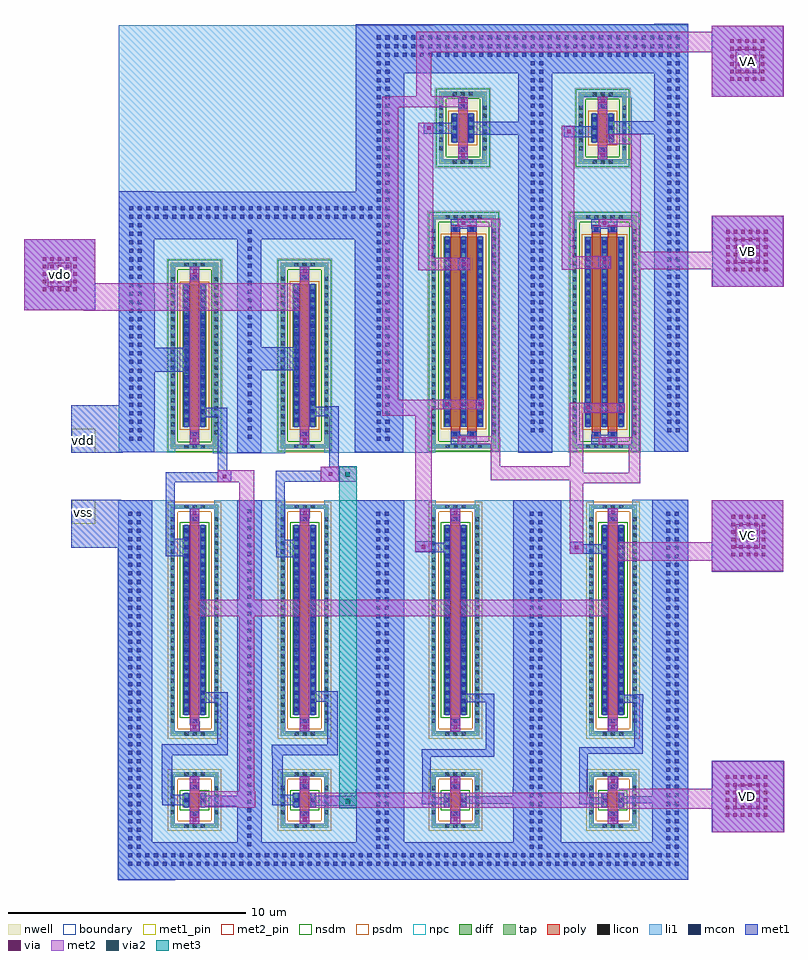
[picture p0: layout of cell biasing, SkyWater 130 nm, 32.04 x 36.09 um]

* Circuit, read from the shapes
.subckt biasing VA VB VC VD vdd vdo vss
XM1 vss VC sky130_fd_pr__nfet_01v8_J89NCU_1/D vss sky130_fd_pr__nfet_01v8 w=0.6 l=0.4
XM2 sky130_fd_pr__nfet_01v8_J89NCU_1/D VC VC vss sky130_fd_pr__nfet_01v8 w=8 l=0.4
XM3 vss VD sky130_fd_pr__nfet_01v8_J89NCU_3/D vss sky130_fd_pr__nfet_01v8 w=0.6 l=0.4
XM4 sky130_fd_pr__nfet_01v8_J89NCU_3/D VC VD vss sky130_fd_pr__nfet_01v8 w=8 l=0.4
XM5 vss VD sky130_fd_pr__nfet_01v8_J89NCU_4/D vss sky130_fd_pr__nfet_01v8 w=0.6 l=0.4
XM6 sky130_fd_pr__nfet_01v8_J89NCU_4/D VC VA vss sky130_fd_pr__nfet_01v8 w=8 l=0.4
XM7 vss VD sky130_fd_pr__nfet_01v8_J89NCU_6/D vss sky130_fd_pr__nfet_01v8 w=0.6 l=0.4
XM8 sky130_fd_pr__nfet_01v8_J89NCU_6/D VC VB vss sky130_fd_pr__nfet_01v8 w=8 l=0.4
XM9 VC vdo vdd vdd sky130_fd_pr__pfet_01v8 w=6 l=0.4
XM10 VD vdo vdd vdd sky130_fd_pr__pfet_01v8 w=6 l=0.4
XM11 sky130_fd_pr__pfet_01v8_NJEU8C_13/D VB VA vdd sky130_fd_pr__pfet_01v8 w=8 l=0.4 m=2
XM12 vdd VA sky130_fd_pr__pfet_01v8_NJEU8C_13/D vdd sky130_fd_pr__pfet_01v8 w=1.2 l=0.4
XM13 sky130_fd_pr__pfet_01v8_NJEU8C_10/D VB VB vdd sky130_fd_pr__pfet_01v8 w=8 l=0.4 m=2
XM14 vdd VB sky130_fd_pr__pfet_01v8_NJEU8C_10/D vdd sky130_fd_pr__pfet_01v8 w=1.2 l=0.4
.ends

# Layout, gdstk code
import gdstk
lib = gdstk.Library(unit=1e-6, precision=1e-09)
def R(c, l, rs):  # rectangles x0, y0, x1, y1
    for r in rs: c.add(gdstk.rectangle(r[:2], r[2:], *l))
def A(c, l, x, y, w, h, nx, ny, dx, dy):  # array of equal rectangles
    R(c, l, [(x+i*dx, y+j*dy, x+i*dx+w, y+j*dy+h) for i in range(nx) for j in range(ny)])
nwell = (64, 20)
diff = (65, 20)
tap = (65, 44)
poly = (66, 20)
licon = (66, 44)
li1 = (67, 20)
mcon = (67, 44)
met1_pin = (68, 16)
met1 = (68, 20)
via = (68, 44)
met2_pin = (69, 16)
met2 = (69, 20)
via2 = (69, 44)
met3 = (70, 20)
nsdm = (93, 44)
psdm = (94, 20)
npc = (95, 20)
boundary = (235, 4)

sky130_fd_pr__nfet_01v8_ = lib.new_cell('sky130_fd_pr__nfet_01v8_WVN3PK')
R(sky130_fd_pr__nfet_01v8_, diff, [(-0.49,-4,0.49,4)])
R(sky130_fd_pr__nfet_01v8_, tap, [(-1,-4.87,1,-4.7), (-1,-4.7,-0.83,4.7), (0.83,-4.7,1,4.7), (-1,4.7,1,4.87)])
R(sky130_fd_pr__nfet_01v8_, poly, [(-0.2,-4.44,0.2,4.44)])
A(sky130_fd_pr__nfet_01v8_, licon, -0.425, -4.87, 0.17, 0.17, 3, 2, 0.34, 9.57)
A(sky130_fd_pr__nfet_01v8_, licon, -1, -4.335, 0.17, 0.17, 1, 26, 0, 0.34)
A(sky130_fd_pr__nfet_01v8_, licon, 0.83, -4.335, 0.17, 0.17, 1, 26, 0, 0.34)
A(sky130_fd_pr__nfet_01v8_, licon, -0.43, -3.825, 0.17, 0.17, 1, 23, 0, 0.34)
A(sky130_fd_pr__nfet_01v8_, licon, 0.26, -3.825, 0.17, 0.17, 1, 23, 0, 0.34)
R(sky130_fd_pr__nfet_01v8_, licon, [(-0.085,-4.36,0.085,-4.19), (-0.085,4.19,0.085,4.36)])
R(sky130_fd_pr__nfet_01v8_, li1, [(-1,-4.87,1,-4.7), (-1,-4.7,-0.83,4.7), (0.83,-4.7,1,4.7), (-0.2,-4.36,0.2,-4.19), (-0.43,-4.02,-0.26,4.02), (0.26,-4.02,0.43,4.02), (-0.2,4.19,0.2,4.36), (-1,4.7,1,4.87)])
A(sky130_fd_pr__nfet_01v8_, mcon, -0.43, -3.865, 0.17, 0.17, 1, 22, 0, 0.36)
A(sky130_fd_pr__nfet_01v8_, mcon, 0.26, -3.865, 0.17, 0.17, 1, 22, 0, 0.36)
R(sky130_fd_pr__nfet_01v8_, mcon, [(-0.085,-4.36,0.085,-4.19), (-0.085,4.19,0.085,4.36)])
R(sky130_fd_pr__nfet_01v8_, met1, [(-0.18,-4.39,0.18,-4.16), (-0.46,-4,-0.23,4), (0.23,-4,0.46,4), (-0.18,4.16,0.18,4.39)])
R(sky130_fd_pr__nfet_01v8_, nsdm, [(-0.615,-4.125,0.615,4.125)])
R(sky130_fd_pr__nfet_01v8_, psdm, [(-1.125,-4.995,1.125,-4.575), (-1.125,-4.575,-0.705,4.575), (0.705,-4.575,1.125,4.575), (-1.125,4.575,1.125,4.995)])
R(sky130_fd_pr__nfet_01v8_, npc, [(-0.185,-4.46,0.185,-4.09), (-0.185,4.09,0.185,4.46)])
R(sky130_fd_pr__nfet_01v8_, boundary, [(-0.915,-4.785,0.915,4.785)])
sky130_fd_pr__nfet_01v8_.add(gdstk.Label('G', (0,4.275), layer=67, texttype=5))
sky130_fd_pr__nfet_01v8_.add(gdstk.Label('S', (0.345,0), layer=67, texttype=5))
sky130_fd_pr__nfet_01v8_.add(gdstk.Label('D', (-0.345,0), layer=67, texttype=5))
sky130_fd_pr__nfet_01v8_.add(gdstk.Label('B', (0,-4.785), layer=67, texttype=5))

c_sky130_fd_pr__nfet_01v8_ = lib.new_cell('sky130_fd_pr__nfet_01v8_J89NCU')
R(c_sky130_fd_pr__nfet_01v8_, diff, [(-0.49,-0.3,0.49,0.3)])
R(c_sky130_fd_pr__nfet_01v8_, tap, [(-1,-1.17,1,-1), (-1,-1,-0.83,1), (0.83,-1,1,1), (-1,1,1,1.17)])
R(c_sky130_fd_pr__nfet_01v8_, poly, [(-0.2,-0.74,0.2,0.74)])
A(c_sky130_fd_pr__nfet_01v8_, licon, -0.425, -1.17, 0.17, 0.17, 3, 2, 0.34, 2.17)
A(c_sky130_fd_pr__nfet_01v8_, licon, -1, -0.595, 0.17, 0.17, 1, 4, 0, 0.34)
A(c_sky130_fd_pr__nfet_01v8_, licon, 0.83, -0.595, 0.17, 0.17, 1, 4, 0, 0.34)
R(c_sky130_fd_pr__nfet_01v8_, licon, [(-0.085,-0.66,0.085,-0.49), (-0.43,-0.085,-0.26,0.085), (0.26,-0.085,0.43,0.085), (-0.085,0.49,0.085,0.66)])
R(c_sky130_fd_pr__nfet_01v8_, li1, [(-1,-1.17,1,-1), (-1,-1,-0.83,1), (0.83,-1,1,1), (-0.2,-0.66,0.2,-0.49), (-0.43,-0.32,-0.26,0.32), (0.26,-0.32,0.43,0.32), (-0.2,0.49,0.2,0.66), (-1,1,1,1.17)])
R(c_sky130_fd_pr__nfet_01v8_, mcon, [(-0.085,-0.66,0.085,-0.49), (-0.43,-0.085,-0.26,0.085), (0.26,-0.085,0.43,0.085), (-0.085,0.49,0.085,0.66)])
R(c_sky130_fd_pr__nfet_01v8_, met1, [(-0.18,-0.69,0.18,-0.46), (-0.46,-0.3,-0.23,0.3), (0.23,-0.3,0.46,0.3), (-0.18,0.46,0.18,0.69)])
R(c_sky130_fd_pr__nfet_01v8_, nsdm, [(-0.615,-0.425,0.615,0.425)])
R(c_sky130_fd_pr__nfet_01v8_, psdm, [(-1.125,-1.295,1.125,-0.875), (-1.125,-0.875,-0.705,0.875), (0.705,-0.875,1.125,0.875), (-1.125,0.875,1.125,1.295)])
R(c_sky130_fd_pr__nfet_01v8_, npc, [(-0.185,-0.76,0.185,-0.39), (-0.185,0.39,0.185,0.76)])
R(c_sky130_fd_pr__nfet_01v8_, boundary, [(-0.915,-1.085,0.915,1.085)])
c_sky130_fd_pr__nfet_01v8_.add(gdstk.Label('G', (0,0.575), layer=67, texttype=5))
c_sky130_fd_pr__nfet_01v8_.add(gdstk.Label('S', (0.345,0), layer=67, texttype=5))
c_sky130_fd_pr__nfet_01v8_.add(gdstk.Label('D', (-0.345,0), layer=67, texttype=5))
c_sky130_fd_pr__nfet_01v8_.add(gdstk.Label('B', (0,-1.085), layer=67, texttype=5))

sky130_fd_pr__pfet_01v8_ = lib.new_cell('sky130_fd_pr__pfet_01v8_NMD27C')
R(sky130_fd_pr__pfet_01v8_, nwell, [(-1.18,-4.095,1.18,4.095)])
R(sky130_fd_pr__pfet_01v8_, diff, [(-0.49,-3,0.49,3)])
R(sky130_fd_pr__pfet_01v8_, tap, [(-1,-3.915,1,-3.745), (-1,-3.745,-0.83,3.745), (0.83,-3.745,1,3.745), (-1,3.745,1,3.915)])
R(sky130_fd_pr__pfet_01v8_, poly, [(-0.2,-3.485,0.2,3.485)])
A(sky130_fd_pr__pfet_01v8_, licon, -0.425, -3.915, 0.17, 0.17, 3, 2, 0.34, 7.66)
A(sky130_fd_pr__pfet_01v8_, licon, -1, -3.315, 0.17, 0.17, 1, 20, 0, 0.34)
A(sky130_fd_pr__pfet_01v8_, licon, 0.83, -3.315, 0.17, 0.17, 1, 20, 0, 0.34)
A(sky130_fd_pr__pfet_01v8_, licon, -0.43, -2.805, 0.17, 0.17, 1, 17, 0, 0.34)
A(sky130_fd_pr__pfet_01v8_, licon, 0.26, -2.805, 0.17, 0.17, 1, 17, 0, 0.34)
R(sky130_fd_pr__pfet_01v8_, licon, [(-0.085,-3.405,0.085,-3.235), (-0.085,3.235,0.085,3.405)])
R(sky130_fd_pr__pfet_01v8_, li1, [(-1,-3.915,1,-3.745), (-1,-3.745,-0.83,3.745), (0.83,-3.745,1,3.745), (-0.2,-3.405,0.2,-3.235), (-0.43,-3.02,-0.26,3.02), (0.26,-3.02,0.43,3.02), (-0.2,3.235,0.2,3.405), (-1,3.745,1,3.915)])
A(sky130_fd_pr__pfet_01v8_, mcon, -0.43, -2.785, 0.17, 0.17, 1, 16, 0, 0.36)
A(sky130_fd_pr__pfet_01v8_, mcon, 0.26, -2.785, 0.17, 0.17, 1, 16, 0, 0.36)
R(sky130_fd_pr__pfet_01v8_, mcon, [(-0.085,-3.405,0.085,-3.235), (-0.085,3.235,0.085,3.405)])
R(sky130_fd_pr__pfet_01v8_, met1, [(-0.18,-3.435,0.18,-3.205), (-0.46,-3,-0.23,3), (0.23,-3,0.46,3), (-0.18,3.205,0.18,3.435)])
R(sky130_fd_pr__pfet_01v8_, nsdm, [(-1.125,-4.04,1.125,-3.62), (-1.125,-3.62,-0.705,3.62), (0.705,-3.62,1.125,3.62), (-1.125,3.62,1.125,4.04)])
R(sky130_fd_pr__pfet_01v8_, psdm, [(-0.615,-3.125,0.615,3.125)])
R(sky130_fd_pr__pfet_01v8_, npc, [(-0.185,-3.505,0.185,-3.135), (-0.185,3.135,0.185,3.505)])
R(sky130_fd_pr__pfet_01v8_, boundary, [(-0.915,-3.83,0.915,3.83)])
sky130_fd_pr__pfet_01v8_.add(gdstk.Label('G', (0,3.32), layer=67, texttype=5))
sky130_fd_pr__pfet_01v8_.add(gdstk.Label('S', (0.345,0), layer=67, texttype=5))
sky130_fd_pr__pfet_01v8_.add(gdstk.Label('D', (-0.345,0), layer=67, texttype=5))
sky130_fd_pr__pfet_01v8_.add(gdstk.Label('B', (0,-3.83), layer=67, texttype=5))

c_sky130_fd_pr__pfet_01v8_ = lib.new_cell('sky130_fd_pr__pfet_01v8_NJEU8C')
R(c_sky130_fd_pr__pfet_01v8_, nwell, [(-1.18,-1.695,1.18,1.695)])
R(c_sky130_fd_pr__pfet_01v8_, diff, [(-0.49,-0.6,0.49,0.6)])
R(c_sky130_fd_pr__pfet_01v8_, tap, [(-1,-1.515,1,-1.345), (-1,-1.345,-0.83,1.345), (0.83,-1.345,1,1.345), (-1,1.345,1,1.515)])
R(c_sky130_fd_pr__pfet_01v8_, poly, [(-0.2,-1.085,0.2,1.085)])
A(c_sky130_fd_pr__pfet_01v8_, licon, -0.425, -1.515, 0.17, 0.17, 3, 2, 0.34, 2.86)
A(c_sky130_fd_pr__pfet_01v8_, licon, -1, -0.935, 0.17, 0.17, 1, 6, 0, 0.34)
A(c_sky130_fd_pr__pfet_01v8_, licon, 0.83, -0.935, 0.17, 0.17, 1, 6, 0, 0.34)
A(c_sky130_fd_pr__pfet_01v8_, licon, -0.43, -0.425, 0.17, 0.17, 1, 3, 0, 0.34)
A(c_sky130_fd_pr__pfet_01v8_, licon, 0.26, -0.425, 0.17, 0.17, 1, 3, 0, 0.34)
R(c_sky130_fd_pr__pfet_01v8_, licon, [(-0.085,-1.005,0.085,-0.835), (-0.085,0.835,0.085,1.005)])
R(c_sky130_fd_pr__pfet_01v8_, li1, [(-1,-1.515,1,-1.345), (-1,-1.345,-0.83,1.345), (0.83,-1.345,1,1.345), (-0.2,-1.005,0.2,-0.835), (-0.43,-0.62,-0.26,0.62), (0.26,-0.62,0.43,0.62), (-0.2,0.835,0.2,1.005), (-1,1.345,1,1.515)])
A(c_sky130_fd_pr__pfet_01v8_, mcon, -0.43, -0.445, 0.17, 0.17, 1, 3, 0, 0.36)
A(c_sky130_fd_pr__pfet_01v8_, mcon, 0.26, -0.445, 0.17, 0.17, 1, 3, 0, 0.36)
R(c_sky130_fd_pr__pfet_01v8_, mcon, [(-0.085,-1.005,0.085,-0.835), (-0.085,0.835,0.085,1.005)])
R(c_sky130_fd_pr__pfet_01v8_, met1, [(-0.18,-1.035,0.18,-0.805), (-0.46,-0.6,-0.23,0.6), (0.23,-0.6,0.46,0.6), (-0.18,0.805,0.18,1.035)])
R(c_sky130_fd_pr__pfet_01v8_, nsdm, [(-1.125,-1.64,1.125,-1.22), (-1.125,-1.22,-0.705,1.22), (0.705,-1.22,1.125,1.22), (-1.125,1.22,1.125,1.64)])
R(c_sky130_fd_pr__pfet_01v8_, psdm, [(-0.615,-0.725,0.615,0.725)])
R(c_sky130_fd_pr__pfet_01v8_, npc, [(-0.185,-1.105,0.185,-0.735), (-0.185,0.735,0.185,1.105)])
R(c_sky130_fd_pr__pfet_01v8_, boundary, [(-0.915,-1.43,0.915,1.43)])
c_sky130_fd_pr__pfet_01v8_.add(gdstk.Label('G', (0,0.92), layer=67, texttype=5))
c_sky130_fd_pr__pfet_01v8_.add(gdstk.Label('S', (0.345,0), layer=67, texttype=5))
c_sky130_fd_pr__pfet_01v8_.add(gdstk.Label('D', (-0.345,0), layer=67, texttype=5))
c_sky130_fd_pr__pfet_01v8_.add(gdstk.Label('B', (0,-1.43), layer=67, texttype=5))

c_sky130_fd_pr__pfet_01v8__ = lib.new_cell('sky130_fd_pr__pfet_01v8_NM5A7C')
R(c_sky130_fd_pr__pfet_01v8__, nwell, [(-1.525,-5.095,1.525,5.095)])
R(c_sky130_fd_pr__pfet_01v8__, diff, [(-0.835,-4,0.835,4)])
R(c_sky130_fd_pr__pfet_01v8__, tap, [(-1.345,-4.915,1.345,-4.745), (-1.345,-4.745,-1.175,4.745), (1.175,-4.745,1.345,4.745), (-1.345,4.745,1.345,4.915)])
R(c_sky130_fd_pr__pfet_01v8__, poly, [(-0.545,-4.485,-0.145,4.485), (0.145,-4.485,0.545,4.485)])
A(c_sky130_fd_pr__pfet_01v8__, licon, -0.765, -4.915, 0.17, 0.17, 5, 2, 0.34, 9.66)
A(c_sky130_fd_pr__pfet_01v8__, licon, -1.345, -4.335, 0.17, 0.17, 1, 26, 0, 0.34)
A(c_sky130_fd_pr__pfet_01v8__, licon, 1.175, -4.335, 0.17, 0.17, 1, 26, 0, 0.34)
A(c_sky130_fd_pr__pfet_01v8__, licon, -0.775, -3.825, 0.17, 0.17, 3, 23, 0.69, 0.34)
R(c_sky130_fd_pr__pfet_01v8__, licon, [(-0.43,-4.405,-0.26,-4.235), (0.26,-4.405,0.43,-4.235), (-0.43,4.235,-0.26,4.405), (0.26,4.235,0.43,4.405)])
A(c_sky130_fd_pr__pfet_01v8__, li1, -0.775, -4.02, 0.17, 8.04, 3, 1, 0.69, 0)
R(c_sky130_fd_pr__pfet_01v8__, li1, [(-1.345,-4.915,1.345,-4.745), (-1.345,-4.745,-1.175,4.745), (1.175,-4.745,1.345,4.745), (-0.545,-4.405,-0.145,-4.235), (0.145,-4.405,0.545,-4.235), (-0.545,4.235,-0.145,4.405), (0.145,4.235,0.545,4.405), (-1.345,4.745,1.345,4.915)])
A(c_sky130_fd_pr__pfet_01v8__, mcon, -0.775, -3.865, 0.17, 0.17, 3, 22, 0.69, 0.36)
R(c_sky130_fd_pr__pfet_01v8__, mcon, [(-0.43,-4.405,-0.26,-4.235), (0.26,-4.405,0.43,-4.235), (-0.43,4.235,-0.26,4.405), (0.26,4.235,0.43,4.405)])
A(c_sky130_fd_pr__pfet_01v8__, met1, -0.805, -4, 0.23, 8, 3, 1, 0.69, 0)
R(c_sky130_fd_pr__pfet_01v8__, met1, [(-0.525,-4.435,-0.165,-4.205), (0.165,-4.435,0.525,-4.205), (-0.525,4.205,-0.165,4.435), (0.165,4.205,0.525,4.435)])
R(c_sky130_fd_pr__pfet_01v8__, nsdm, [(-1.47,-5.04,1.47,-4.62), (-1.47,-4.62,-1.05,4.62), (1.05,-4.62,1.47,4.62), (-1.47,4.62,1.47,5.04)])
R(c_sky130_fd_pr__pfet_01v8__, psdm, [(-0.96,-4.125,0.96,4.125)])
R(c_sky130_fd_pr__pfet_01v8__, npc, [(-0.53,-4.505,-0.16,-4.135), (0.16,-4.505,0.53,-4.135), (-0.53,4.135,-0.16,4.505), (0.16,4.135,0.53,4.505)])
R(c_sky130_fd_pr__pfet_01v8__, boundary, [(-1.26,-4.83,1.26,4.83)])
c_sky130_fd_pr__pfet_01v8__.add(gdstk.Label('G1', (0.345,4.32), layer=67, texttype=5))
c_sky130_fd_pr__pfet_01v8__.add(gdstk.Label('S1', (0,0), layer=67, texttype=5))
c_sky130_fd_pr__pfet_01v8__.add(gdstk.Label('G0', (-0.345,4.32), layer=67, texttype=5))
c_sky130_fd_pr__pfet_01v8__.add(gdstk.Label('D0', (-0.69,0), layer=67, texttype=5))
c_sky130_fd_pr__pfet_01v8__.add(gdstk.Label('B', (0,-4.83), layer=67, texttype=5))

biasing = lib.new_cell('biasing')
R(biasing, li1, [(1.96,-0.01,4.34,0), (1.96,0,26,2.36), (1.96,2.36,4.34,4.35), (6,2.36,9.01,4.35), (10.65,2.36,15.35,4.35), (17,2.36,22,4.35), (23.64,2.36,25.99,4.35), (1.96,4.35,25.99,6.27), (1.96,6.27,4.34,16.01), (6,6.27,9.01,16), (10.65,6.27,15.35,16), (17,6.27,22,16), (23.64,6.27,25.99,16.02), (5.95,17.99,9,25.85), (10.65,18.01,15.33,25.85), (1.98,18.02,4.37,25.85), (17.68,18.04,21.3,27.85), (23.6,18.04,25.98,27.85), (1.98,25.85,15.33,27.85), (1.98,27.85,25.98,30.37), (1.98,30.37,15.66,33), (17.3,30.37,21.57,33), (23.6,30.37,25.98,33), (1.98,33,26,36.02), (4.08,36.02,26,36.03), (15.26,36.03,26,36.05)])
A(biasing, mcon, 2.39, 0.59, 0.17, 0.17, 65, 2, 0.36, 0.36)
A(biasing, mcon, 2.39, 1.31, 0.17, 0.17, 1, 40, 0, 0.36)
A(biasing, mcon, 2.75, 1.31, 0.17, 0.17, 1, 40, 0, 0.36)
A(biasing, mcon, 12.83, 1.31, 0.17, 0.17, 1, 40, 0, 0.36)
A(biasing, mcon, 13.19, 1.31, 0.17, 0.17, 1, 40, 0, 0.36)
A(biasing, mcon, 19.31, 1.31, 0.17, 0.17, 1, 40, 0, 0.36)
A(biasing, mcon, 19.67, 1.31, 0.17, 0.17, 1, 40, 0, 0.36)
A(biasing, mcon, 25.07, 1.31, 0.17, 0.17, 1, 40, 0, 0.36)
A(biasing, mcon, 25.43, 1.31, 0.17, 0.17, 1, 40, 0, 0.36)
A(biasing, mcon, 7.4, 1.41, 0.17, 0.17, 1, 40, 0, 0.36)
A(biasing, mcon, 2.43, 18.505, 0.17, 0.17, 1, 26, 0, 0.36)
A(biasing, mcon, 2.79, 18.505, 0.17, 0.17, 1, 26, 0, 0.36)
A(biasing, mcon, 12.87, 18.505, 0.17, 0.17, 1, 26, 0, 0.36)
A(biasing, mcon, 13.23, 18.505, 0.17, 0.17, 1, 26, 0, 0.36)
A(biasing, mcon, 7.425, 18.595, 0.17, 0.17, 1, 25, 0, 0.36)
A(biasing, mcon, 19.35, 18.865, 0.17, 0.17, 1, 44, 0, 0.36)
A(biasing, mcon, 19.71, 18.865, 0.17, 0.17, 1, 44, 0, 0.36)
A(biasing, mcon, 25.11, 18.865, 0.17, 0.17, 1, 44, 0, 0.36)
A(biasing, mcon, 25.47, 18.865, 0.17, 0.17, 1, 44, 0, 0.36)
A(biasing, mcon, 2.43, 27.865, 0.17, 0.17, 31, 2, 0.36, 0.36)
A(biasing, mcon, 12.87, 28.585, 0.17, 0.17, 1, 17, 0, 0.36)
A(biasing, mcon, 13.23, 28.585, 0.17, 0.17, 1, 17, 0, 0.36)
A(biasing, mcon, 12.87, 34.705, 0.17, 0.17, 36, 3, 0.36, 0.36)
R(biasing, met1_pin, [(-0.005,15,0.995,16), (0,18.005,1,19.005)])
R(biasing, met1, [(1.95,0,25.98,0.01), (1.95,0.01,25.99,1.58), (1.95,1.58,3.4,14), (6.97,1.58,8.01,3.11), (11.99,1.58,14.01,3.01), (18.61,1.58,20.63,3.02), (24.48,1.58,25.99,3.22), (26.99,2.01,30.01,5.01), (4.98,2.36,5.38,2.76), (9.62,2.36,10.02,2.74), (15.98,2.36,16.38,2.77), (22.61,2.36,23.01,2.77), (11.98,3.01,14.01,3.13), (18.6,3.02,20.63,3.21), (5.52,3.11,8.01,3.55), (10.21,3.13,14.01,3.55), (3.81,3.14,4.84,3.39), (8.46,3.14,9.49,3.58), (21.4,3.18,22.45,3.47), (14.76,3.19,15.81,3.48), (16.56,3.21,20.63,3.53), (23.18,3.22,25.99,3.52), (3.8,3.39,4.84,3.58), (21.4,3.47,21.76,5.31), (14.77,3.48,15.13,5.19), (24.48,3.52,25.99,16.03), (18.6,3.53,20.63,3.9), (6.97,3.55,8.01,16.01), (11.98,3.55,14.01,3.81), (3.8,3.58,4.24,5.26), (8.46,3.58,8.9,5.25), (11.99,3.81,14.01,16), (18.61,3.9,20.63,16), (15.98,3.94,16.38,4.35), (4.98,3.95,5.38,4.35), (22.61,3.95,23.01,4.36), (9.62,3.97,10.02,4.35), (14.76,5.19,17.81,5.5), (8.44,5.25,11.22,5.7), (3.8,5.26,6.58,5.71), (21.39,5.31,24.08,5.59), (17.45,5.5,17.81,7.49), (23.72,5.59,24.08,7.47), (10.78,5.7,11.22,7.51), (6.13,5.71,6.57,7.46), (4.99,6.27,5.39,6.68), (9.62,6.27,10.02,6.68), (15.98,6.27,16.38,6.68), (22.62,6.27,23.02,6.68), (15.81,7.01,15.92,13.81), (5.54,7.46,6.57,7.9), (23.16,7.47,24.09,7.81), (16.57,7.49,17.81,7.84), (10.19,7.51,11.22,7.95), (23.72,7.81,24.08,7.82), (17.45,7.84,17.81,7.85), (26.98,12.99,29.99,16.01), (8.62,13.6,9.46,14.07), (3.97,13.64,4.81,14.09), (21,13.75,22.49,14.14), (14.49,13.81,15.92,14.2), (-0.01,14,3.4,16.01), (8.6,14.07,9.46,14.33), (3.96,14.09,4.81,14.37), (21,14.14,21.56,14.26), (14.49,14.2,15.18,14.27), (15.81,14.2,15.92,14.9), (8.6,14.33,8.99,16.79), (3.96,14.37,4.35,16.75), (22.48,14.53,22.57,14.9), (4.98,15.24,5.38,15.65), (9.63,15.24,10.03,15.65), (15.98,15.24,16.38,15.65), (22.62,15.24,23.02,15.65), (-0.01,16.01,2.09,16.02), (3.96,16.75,6.73,17.19), (8.6,16.79,11.26,17.24), (6.15,17.19,6.73,17.26), (10.51,17.24,11.25,17.42), (6.15,17.26,6.55,19.51), (10.85,17.42,11.25,19.54), (6.99,18,8,21.49), (18.82,18,20.26,31.41), (0,18.005,1,18.01), (-0.01,18.01,2.15,18.02), (-0.01,18.02,3.49,18.99), (11.94,18.03,13.98,27), (24.56,18.05,26,31.44), (4.98,18.35,5.38,18.76), (9.62,18.36,10.02,18.77), (15.98,18.36,17.07,18.76), (21.91,18.36,23,18.76), (-0.01,18.99,3.5,20.01), (5.54,19.51,6.55,19.91), (10.18,19.54,11.25,19.94), (22.97,19.68,23.31,20.08), (21.59,19.71,21.93,20.11), (17.03,19.83,17.37,20.23), (15.65,19.85,15.99,20.25), (10.85,19.94,11.25,19.96), (1.98,20.01,3.5,21.42), (1.98,21.42,4.84,22.42), (6.99,21.49,9.43,22.45), (1.98,22.42,3.5,24.74), (6.99,22.45,8,27), (-2.01,24.01,0.99,27.01), (1.98,24.74,3.49,27), (27,25,30,28), (4.98,25.43,5.38,25.84), (9.62,25.44,10.02,25.85), (16.27,25.72,16.8,26.21), (22.2,25.78,22.71,26.26), (1.98,27,13.98,27.01), (1.98,27.01,14.01,29.01), (15.98,27.45,17.07,27.85), (21.91,27.45,23,27.85), (1.98,29.01,3.49,29.02), (11.98,29.01,14.01,34), (16.29,30.37,16.69,30.73), (22.18,30.37,22.58,30.73), (20.74,31.31,22.04,31.77), (16.87,31.41,20.26,31.95), (22.76,31.44,26,31.98), (14.84,31.45,16.14,31.91), (18.82,31.95,20.26,34), (24.56,31.98,26,34), (16.29,32.64,16.69,33), (22.18,32.64,22.58,33), (26.99,33.01,30,36.01), (11.98,34,26,36.06), (24.56,36.06,26,36.08)])
A(biasing, via, 27.57, 2.65, 0.15, 0.15, 6, 6, 0.32, 0.32)
A(biasing, via, 27.815, 13.63, 0.15, 0.15, 5, 6, 0.32, 0.32)
A(biasing, via, -1.22, 24.82, 0.15, 0.15, 5, 5, 0.32, 0.32)
A(biasing, via, 27.585, 25.645, 0.15, 0.15, 6, 6, 0.32, 0.32)
A(biasing, via, 27.76, 33.68, 0.15, 0.15, 5, 6, 0.32, 0.32)
R(biasing, via, [(9.75,2.445,9.9,2.595), (5.11,2.455,5.26,2.605), (16.115,2.465,16.265,2.615), (22.745,2.465,22.895,2.615), (5.1,4.105,5.25,4.255), (9.74,4.105,9.89,4.255), (16.105,4.115,16.255,4.265), (22.745,4.115,22.895,4.265), (22.755,6.345,22.905,6.495), (5.105,6.35,5.255,6.5), (9.755,6.35,9.905,6.5), (16.105,6.365,16.255,6.515), (21.21,13.925,21.36,14.075), (14.75,13.965,14.9,14.115), (5.105,15.4,5.255,15.55), (9.755,15.4,9.905,15.55), (16.115,15.405,16.265,15.555), (22.755,15.425,22.905,15.575), (6.37,16.925,6.52,17.075), (10.83,17.035,10.98,17.185), (5.105,18.44,5.255,18.59), (22.375,18.445,22.525,18.595), (9.755,18.45,9.905,18.6), (16.435,18.485,16.585,18.635), (23.07,19.81,23.22,19.96), (21.69,19.83,21.84,19.98), (17.13,19.97,17.28,20.12), (15.75,19.98,15.9,20.13), (5.115,25.6,5.265,25.75), (9.755,25.6,9.905,25.75), (16.47,25.89,16.62,26.04), (22.38,25.94,22.53,26.09), (16.435,27.605,16.585,27.755), (22.385,27.605,22.535,27.755), (16.425,30.445,16.575,30.595), (22.315,30.455,22.465,30.605), (20.89,31.47,21.04,31.62), (14.98,31.61,15.13,31.76), (16.425,32.785,16.575,32.935), (22.315,32.785,22.465,32.935)])
R(biasing, met2_pin, [(28,3.005,29,4.005), (28.005,13.995,29.005,14.995), (-1.01,25.01,-0.01,26.01), (28.005,26.005,29.005,27.005), (28,34.01,29,35.01)])
R(biasing, met2, [(27.01,2,30.03,3), (4.98,2.36,5.38,3.05), (9.62,2.36,10.02,3.04), (22.61,2.36,23.04,3), (15.95,2.37,16.38,3.04), (22.61,3,30.03,3.04), (7.07,3.03,7.69,3.05), (9.62,3.04,30.03,3.67), (4.98,3.05,7.73,3.73), (9.62,3.67,10.02,4.36), (15.95,3.67,16.38,4.36), (22.61,3.67,30.03,3.83), (4.98,3.73,5.38,4.36), (7.07,3.73,7.69,11.11), (22.61,3.83,23.04,4.35), (27.01,3.83,30.03,4.99), (15.96,6.25,16.39,11.11), (9.61,6.26,10.02,11.11), (22.6,6.26,23.03,11.11), (4.99,6.27,5.38,11.11), (4.93,11.11,23.03,11.8), (4.99,11.8,5.38,15.65), (7.07,11.8,7.69,16.75), (9.61,11.8,10.02,15.65), (15.96,11.8,16.39,15.65), (22.6,11.8,23.03,13.45), (26.98,13.01,30,13.45), (22.6,13.45,30,14.23), (21,13.75,21.56,16.71), (14.49,13.82,15.19,19.57), (22.6,14.23,23.03,15.66), (26.98,14.23,30,16), (21,16.71,23.96,16.85), (6.16,16.75,7.7,17.26), (10.51,16.79,12.01,17.42), (17.66,16.85,23.96,16.95), (17.66,16.95,23.97,17.15), (17.66,17.15,21.56,17.43), (23.49,17.15,23.97,18.35), (17.66,17.43,18.06,18.36), (21,17.43,21.56,19.7), (9.62,18.35,10.02,23.98), (22.21,18.35,23.98,18.65), (4.97,18.36,5.38,23.98), (16.27,18.36,18.06,18.63), (16.27,18.63,18.05,18.7), (23.64,18.65,23.98,25.73), (17.71,18.7,18.05,27.54), (13.09,19.56,13.76,19.57), (13.09,19.57,15.19,19.83), (21,19.7,23.32,20.1), (13.09,19.83,17.37,20.23), (21,20.1,21.56,20.11), (13.09,20.23,13.76,32.57), (0.51,23.98,10.02,24.01), (-2.01,24.01,10.02,25.14), (26.99,25,30.01,25.73), (-2.01,25.14,0.99,27.01), (4.97,25.14,5.38,25.85), (9.62,25.14,10.02,25.84), (14.82,25.69,16.81,25.7), (14.62,25.7,16.81,26.22), (20.65,25.72,21.18,25.75), (23.64,25.73,30.01,26.47), (20.65,25.75,22.72,26.28), (14.62,26.22,15.24,31.91), (20.65,26.28,21.18,31.78), (23.64,26.47,23.98,27.54), (26.99,26.47,30.01,27.99), (16.27,27.54,18.07,27.86), (22.21,27.54,23.98,27.61), (22.21,27.61,23.99,27.84), (23.59,27.84,23.99,31.01), (16.29,30.37,16.7,32.57), (22.17,30.37,22.58,31.01), (22.17,31.01,23.99,31.44), (22.17,31.44,22.58,33.01), (13.09,32.57,16.7,33.01), (13.09,33.01,16.39,33.02), (26.99,33.01,30.01,34.89), (13.5,33.02,16.39,33.03), (14.52,33.03,15.16,34.89), (14.52,34.89,30.01,35.45), (14.53,35.45,30.01,35.75), (26.99,35.75,30.01,36)])
R(biasing, via2, [(11.55,3.215,11.75,3.415), (11.53,16.985,11.73,17.185)])
R(biasing, met3, [(11.27,3.01,12.01,17.43)])
biasing.add(gdstk.Reference(sky130_fd_pr__nfet_01v8_, (5.18,10.95)))
biasing.add(gdstk.Reference(c_sky130_fd_pr__nfet_01v8_, (5.18,3.355)))
biasing.add(gdstk.Reference(sky130_fd_pr__nfet_01v8_, (9.82,10.95)))
biasing.add(gdstk.Reference(c_sky130_fd_pr__nfet_01v8_, (9.82,3.36)))
biasing.add(gdstk.Reference(c_sky130_fd_pr__nfet_01v8_, (16.175,3.36)))
biasing.add(gdstk.Reference(sky130_fd_pr__nfet_01v8_, (22.82,10.95)))
biasing.add(gdstk.Reference(c_sky130_fd_pr__nfet_01v8_, (22.81,3.36)))
biasing.add(gdstk.Reference(sky130_fd_pr__pfet_01v8_, (9.815,22.1)))
biasing.add(gdstk.Reference(sky130_fd_pr__nfet_01v8_, (16.18,10.95)))
biasing.add(gdstk.Reference(sky130_fd_pr__pfet_01v8_, (5.18,22.095)))
biasing.add(gdstk.Reference(c_sky130_fd_pr__pfet_01v8_, (22.385,31.695)))
biasing.add(gdstk.Reference(c_sky130_fd_pr__pfet_01v8__, (16.525,23.11)))
biasing.add(gdstk.Reference(c_sky130_fd_pr__pfet_01v8__, (22.46,23.1)))
biasing.add(gdstk.Reference(c_sky130_fd_pr__pfet_01v8_, (16.49,31.7)))
biasing.add(gdstk.Label('vss', (0.495,15.5), layer=68, texttype=5))
biasing.add(gdstk.Label('vdd', (0.5,18.505), layer=68, texttype=5))
biasing.add(gdstk.Label('VD', (28.5,3.505), layer=69, texttype=5))
biasing.add(gdstk.Label('VC', (28.505,14.495), layer=69, texttype=5))
biasing.add(gdstk.Label('VB', (28.505,26.505), layer=69, texttype=5))
biasing.add(gdstk.Label('VA', (28.5,34.51), layer=69, texttype=5))
biasing.add(gdstk.Label('vdo', (-0.51,25.51), layer=69, texttype=5))

lib.write_gds('biasing.gds')
